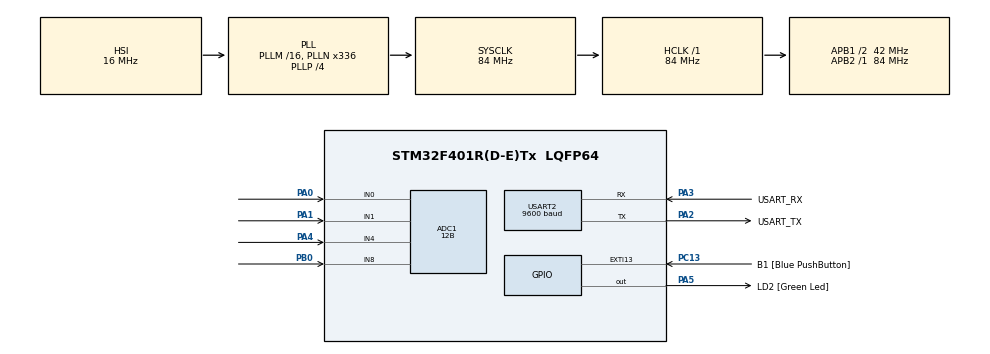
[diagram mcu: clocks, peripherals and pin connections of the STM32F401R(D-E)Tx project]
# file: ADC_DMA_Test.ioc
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ADC1.Channel-0\#ChannelRegularConversion=ADC_CHANNEL_0
ADC1.Channel-1\#ChannelRegularConversion=ADC_CHANNEL_1
ADC1.Channel-2\#ChannelRegularConversion=ADC_CHANNEL_4
ADC1.Channel-3\#ChannelRegularConversion=ADC_CHANNEL_8
ADC1.ClockPrescaler=ADC_CLOCK_SYNC_PCLK_DIV8
ADC1.ContinuousConvMode=DISABLE
ADC1.DMAContinuousRequests=ENABLE
ADC1.DataAlign=ADC_DATAALIGN_RIGHT
ADC1.DiscontinuousConvMode=ENABLE
ADC1.EOCSelection=ADC_EOC_SEQ_CONV
ADC1.EnableAnalogWatchDog=false
ADC1.ExternalTrigConv=ADC_SOFTWARE_START
ADC1.ExternalTrigConvEdge=ADC_EXTERNALTRIGCONVEDGE_NONE
ADC1.InjNumberOfConversion=0
ADC1.NbrOfConversion=4
ADC1.NbrOfConversionFlag=1
ADC1.Rank-0\#ChannelRegularConversion=1
ADC1.Rank-1\#ChannelRegularConversion=2
ADC1.Rank-2\#ChannelRegularConversion=3
ADC1.Rank-3\#ChannelRegularConversion=4
ADC1.Resolution=ADC_RESOLUTION_12B
ADC1.SamplingTime-0\#ChannelRegularConversion=ADC_SAMPLETIME_3CYCLES
ADC1.SamplingTime-1\#ChannelRegularConversion=ADC_SAMPLETIME_3CYCLES
ADC1.SamplingTime-2\#ChannelRegularConversion=ADC_SAMPLETIME_3CYCLES
ADC1.SamplingTime-3\#ChannelRegularConversion=ADC_SAMPLETIME_3CYCLES
ADC1.ScanConvMode=ENABLE
ADC1.master=1
Dma.ADC1.0.Direction=DMA_PERIPH_TO_MEMORY
Dma.ADC1.0.FIFOMode=DMA_FIFOMODE_DISABLE
Dma.ADC1.0.Instance=DMA2_Stream0
Dma.ADC1.0.MemDataAlignment=DMA_MDATAALIGN_HALFWORD
Dma.ADC1.0.MemInc=DMA_MINC_ENABLE
Dma.ADC1.0.Mode=DMA_CIRCULAR
Dma.ADC1.0.PeriphDataAlignment=DMA_PDATAALIGN_HALFWORD
Dma.ADC1.0.PeriphInc=DMA_PINC_DISABLE
Dma.ADC1.0.Priority=DMA_PRIORITY_LOW
Dma.Request0=ADC1
Mcu.Family=STM32F4
Mcu.Name=STM32F401R(D-E)Tx
Mcu.Package=LQFP64
NVIC.DMA2_Stream0_IRQn=true\:2\:0\:true\:false\:true\:false
NVIC.PriorityGroup=NVIC_PRIORITYGROUP_2
NVIC.USART2_IRQn=true\:0\:0\:false\:false\:true\:true
PA0-WKUP.Signal=ADCx_IN0
PA1.Signal=ADCx_IN1
PA13.GPIO_Label=TMS
PA13.Signal=SYS_JTMS-SWDIO
PA14.GPIO_Label=TCK
PA14.Signal=SYS_JTCK-SWCLK
PA2.GPIO_Label=USART_TX
PA2.GPIO_Mode=GPIO_MODE_AF_PP
PA2.GPIO_PuPd=GPIO_NOPULL
PA2.GPIO_Speed=GPIO_SPEED_FREQ_LOW
PA2.Mode=Asynchronous
PA2.Signal=USART2_TX
PA3.GPIO_Label=USART_RX
PA3.GPIO_Mode=GPIO_MODE_AF_PP
PA3.GPIO_PuPd=GPIO_NOPULL
PA3.GPIO_Speed=GPIO_SPEED_FREQ_LOW
PA3.Mode=Asynchronous
PA3.Signal=USART2_RX
PA4.Signal=ADCx_IN4
PA5.GPIO_Label=LD2 [Green Led]
PA5.GPIO_Mode=GPIO_MODE_OUTPUT_PP
PA5.GPIO_PuPd=GPIO_NOPULL
PA5.GPIO_Speed=GPIO_SPEED_FREQ_LOW
PA5.Signal=GPIO_Output
PB0.Signal=ADCx_IN8
PB3.GPIO_Label=SWO
PB3.Signal=SYS_JTDO-SWO
PC13-ANTI_TAMP.GPIO_Label=B1 [Blue PushButton]
PC13-ANTI_TAMP.GPIO_ModeDefaultEXTI=GPIO_MODE_IT_FALLING
PC13-ANTI_TAMP.GPIO_PuPd=GPIO_NOPULL
PC13-ANTI_TAMP.Signal=GPXTI13
PC14-OSC32_IN.Signal=RCC_OSC32_IN
PC15-OSC32_OUT.Signal=RCC_OSC32_OUT
PH0\ -\ OSC_IN.Signal=RCC_OSC_IN
PH1\ -\ OSC_OUT.Signal=RCC_OSC_OUT
ProjectManager.HeapSize=0x200
ProjectManager.StackSize=0x400
ProjectManager.TargetToolchain=MDK-ARM V5
RCC.AHBFreq_Value=84000000
RCC.APB1CLKDivider=RCC_HCLK_DIV2
RCC.APB1Freq_Value=42000000
RCC.APB1TimFreq_Value=84000000
RCC.APB2Freq_Value=84000000
RCC.APB2TimFreq_Value=84000000
RCC.CortexFreq_Value=84000000
RCC.HCLKFreq_Value=84000000
RCC.HSE_VALUE=8000000
RCC.HSI_VALUE=16000000
RCC.LSE_VALUE=32768
RCC.PLLN=336
RCC.PLLP=RCC_PLLP_DIV4
RCC.PLLQ=7
RCC.SYSCLKFreq_VALUE=84000000
RCC.SYSCLKSource=RCC_SYSCLKSOURCE_PLLCLK
RCC.VCOOutputFreq_Value=336000000
SH.ADCx_IN0.0=ADC1_IN0,IN0
SH.ADCx_IN1.0=ADC1_IN1,IN1
SH.ADCx_IN4.0=ADC1_IN4,IN4
SH.ADCx_IN8.0=ADC1_IN8,IN8
USART2.BaudRate=9600
USART2.VirtualMode=VM_ASYNC
board=NUCLEO-F401RE

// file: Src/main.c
/**
  ******************************************************************************
  * File Name          : main.c
  * Description        : Main program body
  ******************************************************************************
  ** This notice applies to any and all portions of this file
  * that are not between comment pairs USER CODE BEGIN and
  * USER CODE END. Other portions of this file, whether
  * inserted by the user or by software development tools
  * are owned by their respective copyright owners.
  *
  * COPYRIGHT(c) 2018 STMicroelectronics
  *
  * Redistribution and use in source and binary forms, with or without modification,
  * are permitted provided that the following conditions are met:
  *   1. Redistributions of source code must retain the above copyright notice,
  *      this list of conditions and the following disclaimer.
  *   2. Redistributions in binary form must reproduce the above copyright notice,
  *      this list of conditions and the following disclaimer in the documentation
  *      and/or other materials provided with the distribution.
  *   3. Neither the name of STMicroelectronics nor the names of its contributors
  *      may be used to endorse or promote products derived from this software
  *      without specific prior written permission.
  *
  * THIS SOFTWARE IS PROVIDED BY THE COPYRIGHT HOLDERS AND CONTRIBUTORS "AS IS"
  * AND ANY EXPRESS OR IMPLIED WARRANTIES, INCLUDING, BUT NOT LIMITED TO, THE
  * IMPLIED WARRANTIES OF MERCHANTABILITY AND FITNESS FOR A PARTICULAR PURPOSE ARE
  * DISCLAIMED. IN NO EVENT SHALL THE COPYRIGHT HOLDER OR CONTRIBUTORS BE LIABLE
  * FOR ANY DIRECT, INDIRECT, INCIDENTAL, SPECIAL, EXEMPLARY, OR CONSEQUENTIAL
  * DAMAGES (INCLUDING, BUT NOT LIMITED TO, PROCUREMENT OF SUBSTITUTE GOODS OR
  * SERVICES; LOSS OF USE, DATA, OR PROFITS; OR BUSINESS INTERRUPTION) HOWEVER
  * CAUSED AND ON ANY THEORY OF LIABILITY, WHETHER IN CONTRACT, STRICT LIABILITY,
  * OR TORT (INCLUDING NEGLIGENCE OR OTHERWISE) ARISING IN ANY WAY OUT OF THE USE
  * OF THIS SOFTWARE, EVEN IF ADVISED OF THE POSSIBILITY OF SUCH DAMAGE.
  *
  ******************************************************************************
  */
#include "main.h"
#include "stm32f4xx_hal.h"

ADC_HandleTypeDef hadc1;
DMA_HandleTypeDef hdma_adc1;

UART_HandleTypeDef huart2;

/* USER CODE BEGIN PV */
/* Private variables ---------------------------------------------------------*/
uint16_t rxBuf[4];
float tempVolt[4];
float tempRead[4];
char tempOut[50];
uint8_t uartChar;
int i = 0;
int c = 0;
/* USER CODE END PV */

void SystemClock_Config(void);
static void MX_GPIO_Init(void);
static void MX_DMA_Init(void);
static void MX_USART2_UART_Init(void);
static void MX_ADC1_Init(void);

/* USER CODE BEGIN PFP */
/* Private function prototypes -----------------------------------------------*/

/* USER CODE END PFP */

int main(void)
{

  /* MCU Configuration----------------------------------------------------------*/

  /* Reset of all peripherals, Initializes the Flash interface and the Systick. */
  HAL_Init();

  /* Configure the system clock */
  SystemClock_Config();

  /* Initialize all configured peripherals */
  MX_GPIO_Init();
  MX_DMA_Init();
  MX_USART2_UART_Init();
  MX_ADC1_Init();

  /* USER CODE BEGIN 2 */
	HAL_ADC_Start_DMA(&hadc1, (uint32_t*) rxBuf, 4);
  /* USER CODE END 2 */

  /* Infinite loop */
  while (1)
  {

  /* USER CODE BEGIN 3 */
		HAL_ADC_Start_DMA(&hadc1, (uint32_t*) rxBuf, 4);
		HAL_Delay(100);
		//HAL_ADC_Stop_DMA(&hadc1);
		for (int i = 0; i<4 ; i++)
		{
			//Read Buffer Content, and convert to voltage
			tempVolt[i] = (rxBuf[i])*(3.3/4095);
			tempRead[i] = (100*tempVolt[i]);
		}
		sprintf(tempOut, "%3.2f, %3.2f, %3.2f, %3.2f\n\r", tempRead[0], tempRead[1], tempRead[2],tempRead[3]);

		c = 0;
		while (tempOut[c] != 0x00)
		{
			uartChar = tempOut[c];
			HAL_UART_Transmit(&huart2, &uartChar, 1, 5);
			c++;
			//HAL_Delay(1);
			if (c > 50) { break;}
		}
  }
  /* USER CODE END 3 */

}

/** System Clock Configuration
*/
void SystemClock_Config(void)
{

  RCC_OscInitTypeDef RCC_OscInitStruct;
  RCC_ClkInitTypeDef RCC_ClkInitStruct;

    /**Configure the main internal regulator output voltage
    */
  __HAL_RCC_PWR_CLK_ENABLE();

  __HAL_PWR_VOLTAGESCALING_CONFIG(PWR_REGULATOR_VOLTAGE_SCALE2);

    /**Initializes the CPU, AHB and APB busses clocks
    */
  RCC_OscInitStruct.OscillatorType = RCC_OSCILLATORTYPE_HSI;
  RCC_OscInitStruct.HSIState = RCC_HSI_ON;
  RCC_OscInitStruct.HSICalibrationValue = 16;
  RCC_OscInitStruct.PLL.PLLState = RCC_PLL_ON;
  RCC_OscInitStruct.PLL.PLLSource = RCC_PLLSOURCE_HSI;
  RCC_OscInitStruct.PLL.PLLM = 16;
  RCC_OscInitStruct.PLL.PLLN = 336;
  RCC_OscInitStruct.PLL.PLLP = RCC_PLLP_DIV4;
  RCC_OscInitStruct.PLL.PLLQ = 7;
  if (HAL_RCC_OscConfig(&RCC_OscInitStruct) != HAL_OK)
  {
    _Error_Handler(__FILE__, __LINE__);
  }

    /**Initializes the CPU, AHB and APB busses clocks
    */
  RCC_ClkInitStruct.ClockType = RCC_CLOCKTYPE_HCLK|RCC_CLOCKTYPE_SYSCLK
                              |RCC_CLOCKTYPE_PCLK1|RCC_CLOCKTYPE_PCLK2;
  RCC_ClkInitStruct.SYSCLKSource = RCC_SYSCLKSOURCE_PLLCLK;
  RCC_ClkInitStruct.AHBCLKDivider = RCC_SYSCLK_DIV1;
  RCC_ClkInitStruct.APB1CLKDivider = RCC_HCLK_DIV2;
  RCC_ClkInitStruct.APB2CLKDivider = RCC_HCLK_DIV1;

  if (HAL_RCC_ClockConfig(&RCC_ClkInitStruct, FLASH_LATENCY_2) != HAL_OK)
  {
    _Error_Handler(__FILE__, __LINE__);
  }

    /**Configure the Systick interrupt time
    */
  HAL_SYSTICK_Config(HAL_RCC_GetHCLKFreq()/1000);

    /**Configure the Systick
    */
  HAL_SYSTICK_CLKSourceConfig(SYSTICK_CLKSOURCE_HCLK);

  /* SysTick_IRQn interrupt configuration */
  HAL_NVIC_SetPriority(SysTick_IRQn, 0, 0);
}

/* ADC1 init function */
static void MX_ADC1_Init(void)
{

  ADC_ChannelConfTypeDef sConfig;

    /**Configure the global features of the ADC (Clock, Resolution, Data Alignment and number of conversion)
    */
  hadc1.Instance = ADC1;
  hadc1.Init.ClockPrescaler = ADC_CLOCK_SYNC_PCLK_DIV8;
  hadc1.Init.Resolution = ADC_RESOLUTION_12B;
  hadc1.Init.ScanConvMode = ENABLE;
  hadc1.Init.ContinuousConvMode = DISABLE;
  hadc1.Init.DiscontinuousConvMode = ENABLE;
  hadc1.Init.NbrOfDiscConversion = 1;
  hadc1.Init.ExternalTrigConvEdge = ADC_EXTERNALTRIGCONVEDGE_NONE;
  hadc1.Init.ExternalTrigConv = ADC_SOFTWARE_START;
  hadc1.Init.DataAlign = ADC_DATAALIGN_RIGHT;
  hadc1.Init.NbrOfConversion = 4;
  hadc1.Init.DMAContinuousRequests = ENABLE;
  hadc1.Init.EOCSelection = ADC_EOC_SEQ_CONV;
  if (HAL_ADC_Init(&hadc1) != HAL_OK)
  {
    _Error_Handler(__FILE__, __LINE__);
  }

    /**Configure for the selected ADC regular channel its corresponding rank in the sequencer and its sample time.
    */
  sConfig.Channel = ADC_CHANNEL_0;
  sConfig.Rank = 1;
  sConfig.SamplingTime = ADC_SAMPLETIME_3CYCLES;
  if (HAL_ADC_ConfigChannel(&hadc1, &sConfig) != HAL_OK)
  {
    _Error_Handler(__FILE__, __LINE__);
  }

    /**Configure for the selected ADC regular channel its corresponding rank in the sequencer and its sample time.
    */
  sConfig.Channel = ADC_CHANNEL_1;
  sConfig.Rank = 2;
  if (HAL_ADC_ConfigChannel(&hadc1, &sConfig) != HAL_OK)
  {
    _Error_Handler(__FILE__, __LINE__);
  }

    /**Configure for the selected ADC regular channel its corresponding rank in the sequencer and its sample time.
    */
  sConfig.Channel = ADC_CHANNEL_4;
  sConfig.Rank = 3;
  if (HAL_ADC_ConfigChannel(&hadc1, &sConfig) != HAL_OK)
  {
    _Error_Handler(__FILE__, __LINE__);
  }

    /**Configure for the selected ADC regular channel its corresponding rank in the sequencer and its sample time.
    */
  sConfig.Channel = ADC_CHANNEL_8;
  sConfig.Rank = 4;
  if (HAL_ADC_ConfigChannel(&hadc1, &sConfig) != HAL_OK)
  {
    _Error_Handler(__FILE__, __LINE__);
  }

}

/* USART2 init function */
static void MX_USART2_UART_Init(void)
{

  huart2.Instance = USART2;
  huart2.Init.BaudRate = 9600;
  huart2.Init.WordLength = UART_WORDLENGTH_8B;
  huart2.Init.StopBits = UART_STOPBITS_1;
  huart2.Init.Parity = UART_PARITY_NONE;
  huart2.Init.Mode = UART_MODE_TX_RX;
  huart2.Init.HwFlowCtl = UART_HWCONTROL_NONE;
  huart2.Init.OverSampling = UART_OVERSAMPLING_16;
  if (HAL_UART_Init(&huart2) != HAL_OK)
  {
    _Error_Handler(__FILE__, __LINE__);
  }

}

static void MX_DMA_Init(void)
{
  /* DMA controller clock enable */
  __HAL_RCC_DMA2_CLK_ENABLE();

  /* DMA interrupt init */
  /* DMA2_Stream0_IRQn interrupt configuration */
  HAL_NVIC_SetPriority(DMA2_Stream0_IRQn, 2, 0);
  HAL_NVIC_EnableIRQ(DMA2_Stream0_IRQn);

}

/** Configure pins as
        * Analog
        * Input
        * Output
        * EVENT_OUT
        * EXTI
*/
static void MX_GPIO_Init(void)
{

  GPIO_InitTypeDef GPIO_InitStruct;

  /* GPIO Ports Clock Enable */
  __HAL_RCC_GPIOC_CLK_ENABLE();
  __HAL_RCC_GPIOH_CLK_ENABLE();
  __HAL_RCC_GPIOA_CLK_ENABLE();
  __HAL_RCC_GPIOB_CLK_ENABLE();

  /*Configure GPIO pin Output Level */
  HAL_GPIO_WritePin(LD2_GPIO_Port, LD2_Pin, GPIO_PIN_RESET);

  /*Configure GPIO pin : B1_Pin */
  GPIO_InitStruct.Pin = B1_Pin;
  GPIO_InitStruct.Mode = GPIO_MODE_IT_FALLING;
  GPIO_InitStruct.Pull = GPIO_NOPULL;
  HAL_GPIO_Init(B1_GPIO_Port, &GPIO_InitStruct);

  /*Configure GPIO pin : LD2_Pin */
  GPIO_InitStruct.Pin = LD2_Pin;
  GPIO_InitStruct.Mode = GPIO_MODE_OUTPUT_PP;
  GPIO_InitStruct.Pull = GPIO_NOPULL;
  GPIO_InitStruct.Speed = GPIO_SPEED_FREQ_LOW;
  HAL_GPIO_Init(LD2_GPIO_Port, &GPIO_InitStruct);

}

void _Error_Handler(char * file, int line)
{
  while(1)
  {
  }
}

/************************ (C) COPYRIGHT STMicroelectronics *****END OF FILE****/
